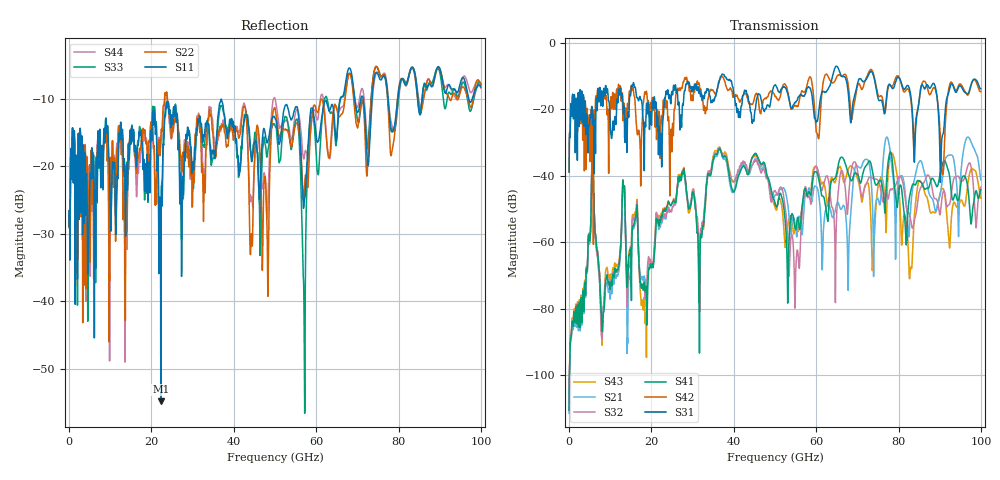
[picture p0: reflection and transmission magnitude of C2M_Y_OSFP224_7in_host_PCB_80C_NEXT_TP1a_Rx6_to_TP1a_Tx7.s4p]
# GHz S RI R 45
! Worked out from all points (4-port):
!   4000 points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, 25 MHz to 100 GHz, reference 45 ohm
!   strongest paths, dB at 25 MHz, 25.02 GHz, 50.02 GHz, 75.03 GHz, 100 GHz:
!     S31: -38.8, -14.7, -12.6, -16.6, -13.8
!     S42: -38.9, -28.8, -16.1, -15.6, -14.6
!     S41: -110.6, -48.3, -48.2, -42.1, -44.2
!     S32: -110.6, -49.9, -44.5, -41.4, -43.4
!     S21: -111.5, -49.7, -45.8, -46.9, -41.2
!     S43: -109.6, -48.1, -49.6, -43.2, -46.7
!   lowest |S11| = -54.9 dB at 22.27 GHz (marker M1), VSWR 1.00, Z = 44.8 + j0.0304 ohm
!   |S11| at or under -10 dB: start of sweep to 65.96 GHz; 71.41 GHz to 73.58 GHz (2.173 GHz wide, 3 % of centre); 77.46 GHz to 79.83 GHz (2.365 GHz wide, 3.01 % of centre)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
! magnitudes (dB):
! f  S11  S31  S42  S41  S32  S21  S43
! 25 MHz  -28.9  -38.8  -38.9  -110.6  -110.6  -111.5  -109.6
! 5.725 GHz  -21.8  -24.7  -20.6  -37.2  -37.5  -37.4  -37.3
! 8.15 GHz  -21.2  -18.1  -16.7  -85.7  -84.2  -82.0  -85.1
! 13.22 GHz  -20.6  -21.2  -18.7  -43.5  -43.6  -43.8  -43.3
! 18.38 GHz  -23.3  -26.2  -14.8  -73.0  -75.2  -71.2  -79.1
! 22.27 GHz  -54.9  -27.4  -26.1  -53.1  -53.6  -54.5  -52.1
! 100 GHz  -8.3  -13.8  -14.6  -44.2  -43.4  -41.2  -46.7
